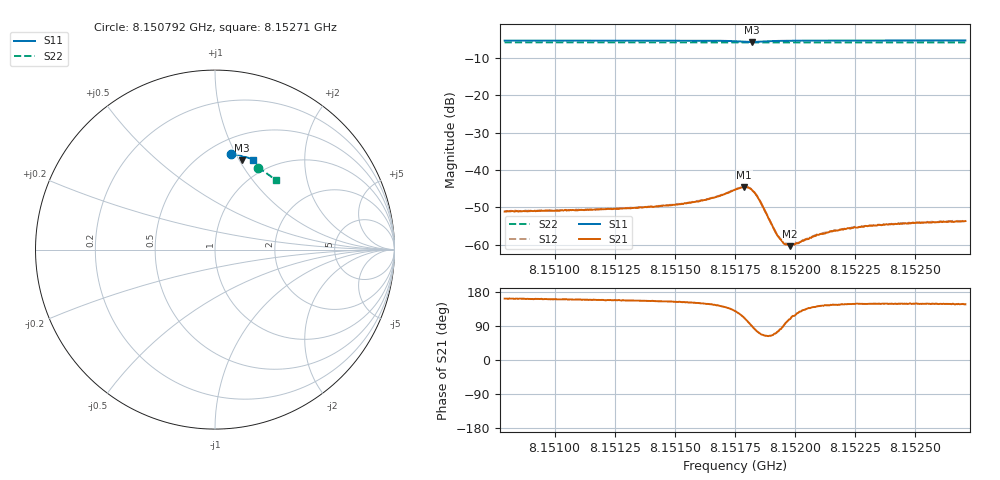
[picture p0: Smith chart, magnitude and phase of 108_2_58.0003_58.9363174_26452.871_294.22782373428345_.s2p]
#  HZ  S  RI  R  50.00
! Rohde & Schwarz Vector Network Analyzer
! Rohde-Schwarz,ZNB20-2Port,1311601062101988,3.16
! Created: UTC 3/21/2024, 12:55:05 AM
! freq[Hz]  re:S11  im:S11  re:S21  im:S21  re:S12  im:S12  re:S22  im:S22
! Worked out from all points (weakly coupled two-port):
!   401 points, 8.150792 GHz to 8.15271 GHz, reference 50 ohm
!   highest |S21| = -44.57 dB at 8.151789 GHz (marker M1); lowest = -60.4 dB at 8.151981 GHz (marker M2)
!   lowest |S11| = -5.7 dB at 8.151823 GHz (marker M3), VSWR 3.17, Z = 37.6 + j51.3 ohm
!   |S11| at or under -10 dB: nowhere
!   |S22| runs from -5.8 to -5.8 dB; largest |S21 - S12| = 0.00013
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8.1507921e9  0.0885 0.535  -0.00263 0.00086  -0.00263 0.000898  0.2375 0.4566
8.1511133e9  0.1113 0.5312  -0.00271 0.00104  -0.00272 0.00109  0.2555 0.4463
8.1514345e9  0.1348 0.5259  -0.00295 0.00138  -0.00296 0.00145  0.2731 0.4352
8.1515591e9  0.1446 0.5228  -0.00319 0.00173  -0.00318 0.00178  0.2799 0.4308
8.151607e9  0.1489 0.521  -0.00332 0.00196  -0.00334 0.002  0.2824 0.429
8.1516741e9  0.155 0.5175  -0.00354 0.00254  -0.00356 0.00259  0.2859 0.4263
8.1517508e9  0.1613 0.5081  -0.00342 0.00419  -0.0034 0.0043  0.2899 0.4232
8.1517892e9  0.1589 0.4999  -0.00213 0.00551  -0.00207 0.00557  0.2916 0.4216
8.1518084e9  0.1543 0.4975  -0.000849 0.0057  -0.000779 0.00575  0.2922 0.4209
8.1518227e9  0.1501 0.4977  0.000163 0.00532  0.000249 0.00538  0.2928 0.4206
8.1518515e9  0.1451 0.5037  0.00127 0.00375  0.00137 0.0038  0.2942 0.4198
8.1519138e9  0.1503 0.5143  0.000564 0.00149  0.000612 0.00148  0.2976 0.4177
8.1519282e9  0.1522 0.5153  0.000343 0.00126  0.000352 0.00131  0.2985 0.4172
8.1519522e9  0.1551 0.5161  7.17e-06 0.00105  1.48e-05 0.00108  0.2998 0.4165
8.1519713e9  0.1575 0.5166  -0.000233 0.000952  -0.000208 0.000962  0.3009 0.4156
8.1519809e9  0.1587 0.5166  -0.000299 0.000901  -0.000343 0.000951  0.3013 0.4153
8.1520049e9  0.1612 0.5167  -0.000529 0.000898  -0.000504 0.000907  0.3027 0.4143
8.152072e9  0.1676 0.5159  -0.000968 0.000833  -0.000966 0.000818  0.306 0.4118
8.1521535e9  0.1743 0.5145  -0.00124 0.000866  -0.00121 0.000855  0.3102 0.4085
8.1522446e9  0.1814 0.5126  -0.00142 0.000894  -0.00145 0.000915  0.3148 0.4047
8.1523932e9  0.192 0.5093  -0.00159 0.000981  -0.00157 0.001  0.3223 0.3988
8.1527096e9  0.2135 0.5015  -0.00173 0.00113  -0.0017 0.00113  0.3374 0.3854
